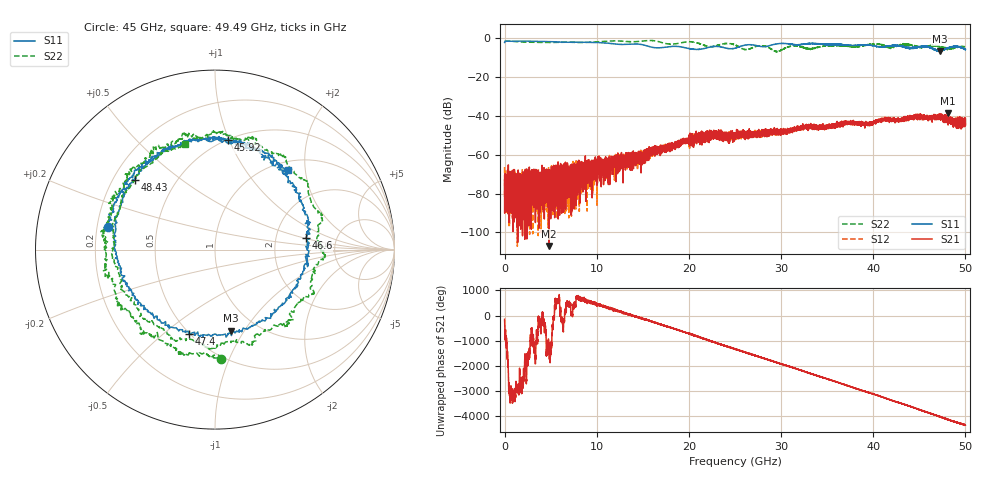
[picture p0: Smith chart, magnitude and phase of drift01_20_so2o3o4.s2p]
!Created with skrf (http://scikit-rf.org).
# Hz S RI R 50.0
!freq ReS11 ImS11 ReS21 ImS21 ReS12 ImS12 ReS22 ImS22
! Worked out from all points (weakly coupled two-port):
!   10001 points, 300 kHz to 50 GHz, reference 50 ohm
!   highest |S21| = -38.61 dB at 48.06 GHz (marker M1); lowest = -106.9 dB at 4.8 GHz (marker M2)
!   lowest |S11| = -6.7 dB at 47.21 GHz (marker M3), VSWR 2.71, Z = 38.1 - j43.7 ohm
!   |S11| at or under -10 dB: nowhere
!   |S22| runs from -6.9 to -1.0 dB; largest |S21 - S12| = 0.0049
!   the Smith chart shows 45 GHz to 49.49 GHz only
!   S11 on the Smith chart (normalised r, x): 45 GHz: 0.24, +0.10; 45.92 GHz: 0.51, +0.99; 46.6 GHz: 2.99, +0.51; 47.4 GHz: 0.49, -0.61; 48.43 GHz: 0.29, +0.35; 49.49 GHz: 1.17, +1.62
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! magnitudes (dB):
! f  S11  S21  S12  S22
! 300 kHz  -2.1  -73.0  -66.3  -1.3
! 350.3 MHz  -1.4  -73.0  -75.0  -1.4
! 4.8 GHz  -1.6  -106.9  -69.7  -2.1
! 8.335 GHz  -1.9  -69.9  -63.6  -2.1
! 16.67 GHz  -4.8  -57.9  -59.0  -1.6
! 22 GHz  -4.8  -53.3  -48.2  -4.0
! 25 GHz  -5.0  -49.7  -50.0  -3.4
! 26.19 GHz  -3.4  -48.2  -48.6  -5.7
! 28.11 GHz  -4.3  -49.8  -48.9  -3.8
! 29.52 GHz  -2.8  -48.4  -47.8  -6.7
! 31.27 GHz  -3.0  -47.1  -47.2  -4.0
! 33.34 GHz  -2.6  -45.1  -45.8  -5.4
! 41.67 GHz  -3.9  -41.5  -41.7  -4.6
! 45 GHz  -4.3  -40.8  -40.5  -4.3
! 45.92 GHz  -4.2  -41.3  -40.6  -4.1
! 46.6 GHz  -5.8  -40.8  -41.2  -3.8
! 47.21 GHz  -6.7  -40.1  -40.4  -4.5
! 47.4 GHz  -6.1  -41.3  -40.7  -4.6
! 48.06 GHz  -5.0  -38.6  -41.5  -5.6
! 48.43 GHz  -4.5  -43.5  -41.9  -5.2
! 49.49 GHz  -4.4  -44.0  -43.4  -4.3
! 50 GHz  -5.6  -41.6  -44.1  -4.2
